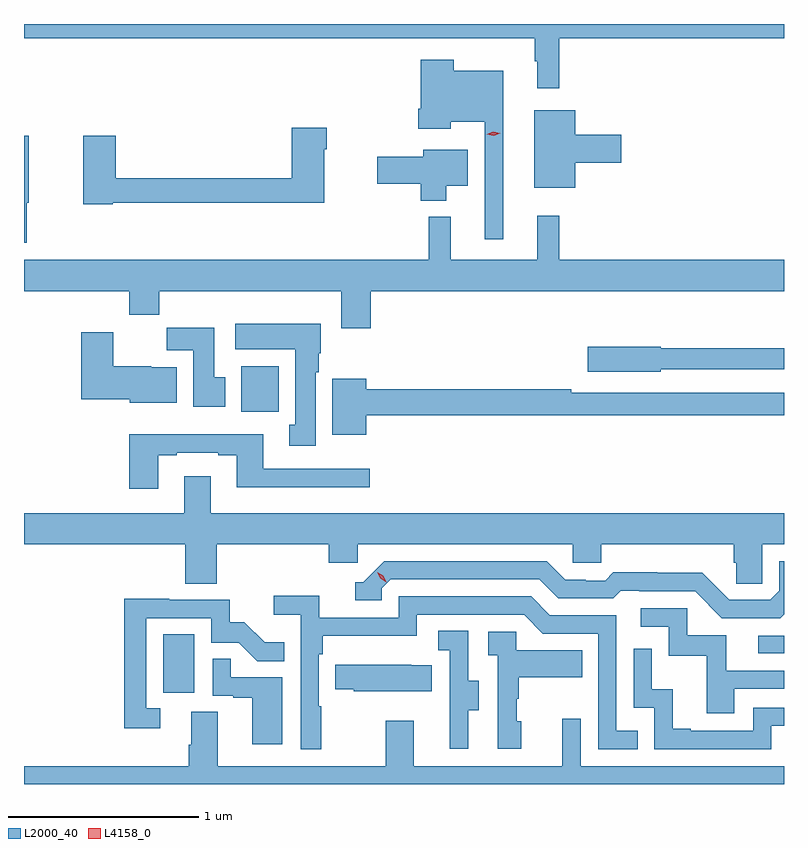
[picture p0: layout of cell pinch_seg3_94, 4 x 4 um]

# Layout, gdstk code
import gdstk
lib = gdstk.Library(unit=1e-6, precision=1e-09)
def R(c, l, rs):  # rectangles x0, y0, x1, y1
    for r in rs: c.add(gdstk.rectangle(r[:2], r[2:], *l))
def P(c, l, *ps):  # polygons
    for p in ps: c.add(gdstk.Polygon(p, *l))
L2000_40 = (2000, 40)
L4158_0 = (4158, 0)

pinch_seg3_94 = lib.new_cell('pinch_seg3_94')
R(pinch_seg3_94, L2000_40, [(1018.91,726.774,1019.074,727.081), (1022.043,726.981,1022.178,727.074), (1019.321,728.252,1019.518,728.494)])
P(pinch_seg3_94, L2000_40, [(1020.995,730.22),(1022.178,730.22),(1022.178,730.294),(1018.178,730.294),(1018.178,730.22),(1020.867,730.22),(1020.867,730.097),(1020.878,730.097),(1020.878,729.957),(1020.995,729.957)],
  [(1020.7,730.048),(1020.441,730.048),(1020.441,730.105),(1020.266,730.105),(1020.266,729.847),(1020.254,729.847),(1020.254,729.743),(1020.424,729.743),(1020.424,729.779),(1020.603,729.779),(1020.603,729.162),(1020.7,729.162)],
  [(1021.078,729.563),(1021.321,729.563),(1021.321,729.71),(1021.078,729.71),(1021.078,729.841),(1020.863,729.841),(1020.863,729.431),(1021.078,729.431)],
  [(1018.644,729.354),(1019.758,729.354),(1019.758,729.635),(1019.771,729.635),(1019.771,729.748),(1019.588,729.748),(1019.588,729.482),(1018.661,729.482),(1018.661,729.706),(1018.49,729.706),(1018.49,729.346),(1018.644,729.346)],
  [(1018.193,729.353),(1018.204,729.353),(1018.204,729.706),(1018.178,729.706),(1018.178,729.144),(1018.193,729.144)],
  [(1020.4,729.443),(1020.514,729.443),(1020.514,729.631),(1020.278,729.631),(1020.278,729.596),(1020.036,729.596),(1020.036,729.454),(1020.266,729.454),(1020.266,729.365),(1020.4,729.365)],
  [(1020.002,728.888),(1022.178,728.888),(1022.178,729.052),(1020.995,729.052),(1020.995,729.286),(1020.878,729.286),(1020.878,729.052),(1020.425,729.052),(1020.425,729.28),(1020.307,729.28),(1020.307,729.052),(1018.178,729.052),(1018.178,728.888),(1018.733,728.888),(1018.733,728.764),(1018.889,728.764),(1018.889,728.888),(1019.849,728.888),(1019.849,728.694),(1020.002,728.694)],
  [(1019.713,728.462),(1019.728,728.462),(1019.728,728.562),(1019.74,728.562),(1019.74,728.716),(1019.289,728.716),(1019.289,728.582),(1019.606,728.582),(1019.606,728.186),(1019.573,728.186),(1019.573,728.073),(1019.713,728.073)],
  [(1019.236,728.436),(1019.179,728.436),(1019.179,728.695),(1018.93,728.695),(1018.93,728.576),(1019.069,728.576),(1019.069,728.28),(1019.236,728.28)],
  [(1018.981,728.488),(1018.848,728.488),(1018.848,728.494),(1018.648,728.494),(1018.648,728.671),(1018.478,728.671),(1018.478,728.318),(1018.734,728.318),(1018.734,728.3),(1018.981,728.3)],
  [(1021.53,728.478),(1022.178,728.478),(1022.178,728.587),(1021.53,728.587),(1021.53,728.595),(1021.146,728.595),(1021.146,728.465),(1021.53,728.465)],
  [(1019.98,728.236),(1022.178,728.236),(1022.178,728.352),(1021.058,728.352),(1021.058,728.372),(1019.98,728.372),(1019.98,728.428),(1019.801,728.428),(1019.801,728.132),(1019.98,728.132)],
  [(1018.885,728.025),(1018.981,728.025),(1018.981,728.037),(1019.201,728.037),(1019.201,728.025),(1019.297,728.025),(1019.297,727.856),(1019.998,727.856),(1019.998,727.953),(1019.437,727.953),(1019.437,728.134),(1018.733,728.134),(1018.733,727.848),(1018.885,727.848)],
  [(1019.192,727.556),(1019.783,727.556),(1019.783,727.458),(1019.934,727.458),(1019.934,727.556),(1021.065,727.556),(1021.065,727.458),(1021.215,727.458),(1021.215,727.556),(1021.913,727.556),(1021.913,727.458),(1021.927,727.458),(1021.927,727.348),(1022.064,727.348),(1022.064,727.556),(1022.178,727.556),(1022.178,727.72),(1019.161,727.72),(1019.161,727.915),(1019.021,727.915),(1019.021,727.72),(1018.178,727.72),(1018.178,727.556),(1019.027,727.556),(1019.027,727.348),(1019.192,727.348)],
  [(1022.178,727.188),(1022.178,727.467),(1022.154,727.467),(1022.154,727.311),(1022.106,727.263),(1021.89,727.263),(1021.748,727.405),(1021.512,727.405),(1021.512,727.408),(1021.279,727.408),(1021.237,727.365),(1021.134,727.365),(1021.134,727.368),(1021.027,727.368),(1020.928,727.467),(1020.075,727.467),(1019.964,727.356),(1019.921,727.356),(1019.921,727.26),(1020.06,727.26),(1020.06,727.323),(1020.108,727.371),(1020.891,727.371),(1020.99,727.272),(1021.279,727.272),(1021.318,727.311),(1021.417,727.311),(1021.417,727.308),(1021.71,727.308),(1021.851,727.167),(1022.157,727.167)],
  [(1019.743,726.704),(1019.73,726.704),(1019.73,726.977),(1019.75,726.977),(1019.75,727.073),(1020.246,727.073),(1020.246,727.185),(1020.81,727.185),(1020.909,727.086),(1021.2,727.086),(1021.2,726.477),(1021.409,726.477),(1021.409,726.573),(1021.296,726.573),(1021.296,727.182),(1020.946,727.182),(1020.847,727.281),(1020.15,727.281),(1020.15,727.17),(1019.732,727.17),(1019.732,727.286),(1019.493,727.286),(1019.493,727.184),(1019.634,727.184),(1019.634,726.477),(1019.743,726.477)],
  [(1018.894,726.693),(1018.821,726.693),(1018.821,727.167),(1019.163,727.167),(1019.163,727.038),(1019.307,727.038),(1019.405,726.94),(1019.549,726.94),(1019.549,727.039),(1019.445,727.039),(1019.338,727.146),(1019.262,727.146),(1019.262,727.263),(1018.943,727.263),(1018.943,727.268),(1018.705,727.268),(1018.705,726.588),(1018.894,726.588)],
  [(1021.915,726.795),(1022.178,726.795),(1022.178,726.891),(1021.873,726.891),(1021.873,727.077),(1021.668,727.077),(1021.668,727.218),(1021.425,727.218),(1021.425,727.122),(1021.572,727.122),(1021.572,726.969),(1021.771,726.969),(1021.771,726.666),(1021.915,726.666)],
  [(1020.517,726.682),(1020.571,726.682),(1020.571,726.837),(1020.516,726.837),(1020.516,727.1),(1020.357,727.1),(1020.357,726.997),(1020.42,726.997),(1020.42,726.693),(1020.419,726.693),(1020.419,726.48),(1020.517,726.48)],
  [(1020.796,726.624),(1020.771,726.624),(1020.771,726.743),(1020.781,726.743),(1020.781,726.857),(1021.115,726.857),(1021.115,726.997),(1020.768,726.997),(1020.768,727.095),(1020.621,727.095),(1020.621,726.971),(1020.672,726.971),(1020.672,726.48),(1020.796,726.48)],
  [(1022.112,726.6),(1022.178,726.6),(1022.178,726.696),(1022.016,726.696),(1022.016,726.573),(1021.687,726.573),(1021.687,726.586),(1021.592,726.586),(1021.592,726.794),(1021.482,726.794),(1021.482,727.006),(1021.386,727.006),(1021.386,726.696),(1021.494,726.696),(1021.494,726.477),(1022.112,726.477)],
  [(1019.536,726.855),(1019.267,726.855),(1019.267,726.953),(1019.172,726.953),(1019.172,726.759),(1019.279,726.759),(1019.279,726.747),(1019.378,726.747),(1019.378,726.504),(1019.536,726.504)],
  [(1020.323,726.919),(1020.215,726.919),(1020.215,726.922),(1019.815,726.922),(1019.815,726.793),(1019.913,726.793),(1019.913,726.782),(1020.323,726.782)],
  [(1021.01,726.637),(1021.01,726.388),(1020.229,726.388),(1020.229,726.628),(1020.082,726.628),(1020.082,726.388),(1019.197,726.388),(1019.197,726.674),(1019.057,726.674),(1019.057,726.5),(1019.045,726.5),(1019.045,726.388),(1018.178,726.388),(1018.178,726.294),(1022.178,726.294),(1022.178,726.388),(1021.107,726.388),(1021.107,726.637)])
P(pinch_seg3_94, L4158_0, [(1020.65,729.706),(1020.613,729.714),(1020.613,729.715),(1020.613,729.715),(1020.648,729.726),(1020.684,729.718),(1020.685,729.718),(1020.684,729.718)],
  [(1020.084,727.357),(1020.053,727.376),(1020.037,727.409),(1020.037,727.409),(1020.037,727.409),(1020.068,727.39),(1020.085,727.358),(1020.085,727.357)])

lib.write_gds('pinch_seg3_94.gds')
